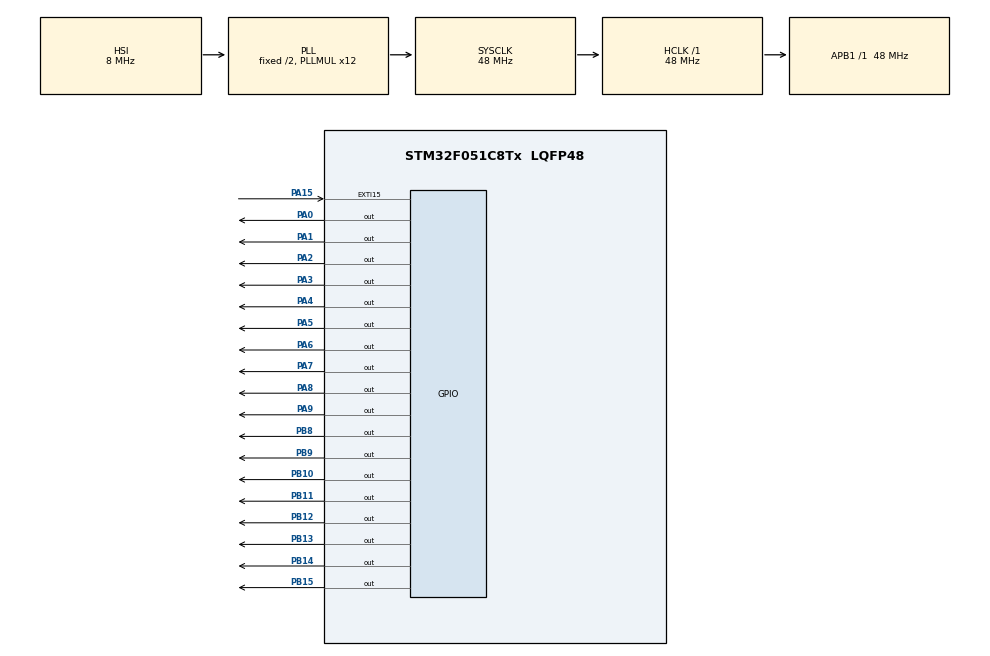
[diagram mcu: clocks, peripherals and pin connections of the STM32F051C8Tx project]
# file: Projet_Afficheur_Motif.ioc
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Mcu.Family=STM32F0
Mcu.Name=STM32F051C8Tx
Mcu.Package=LQFP48
NVIC.EXTI4_15_IRQn=true\:0\:0\:false\:false\:true\:true\:true
PA0.Signal=GPIO_Output
PA1.Signal=GPIO_Output
PA15.Signal=GPXTI15
PA2.Signal=GPIO_Output
PA3.Signal=GPIO_Output
PA4.Signal=GPIO_Output
PA5.Signal=GPIO_Output
PA6.Signal=GPIO_Output
PA7.Signal=GPIO_Output
PA8.Signal=GPIO_Output
PA9.Signal=GPIO_Output
PB10.Signal=GPIO_Output
PB11.Signal=GPIO_Output
PB12.Signal=GPIO_Output
PB13.Signal=GPIO_Output
PB14.Signal=GPIO_Output
PB15.Signal=GPIO_Output
PB8.Signal=GPIO_Output
PB9.Signal=GPIO_Output
ProjectManager.HeapSize=0x200
ProjectManager.StackSize=0x400
ProjectManager.TargetToolchain=STM32CubeIDE
RCC.AHBFreq_Value=48000000
RCC.APB1Freq_Value=48000000
RCC.APB1TimFreq_Value=48000000
RCC.HCLKFreq_Value=48000000
RCC.PLLMUL=RCC_PLL_MUL12
RCC.SYSCLKFreq_VALUE=48000000
RCC.SYSCLKSource=RCC_SYSCLKSOURCE_PLLCLK
board=custom

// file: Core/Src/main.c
/* USER CODE BEGIN Header */
/**
  ******************************************************************************
  * @file           : main.c
  * @brief          : Main program body
  ******************************************************************************
  * @attention
  *
  * <h2><center>&copy; Copyright (c) 2020 STMicroelectronics.
  * All rights reserved.</center></h2>
  *
  * This software component is licensed by ST under BSD 3-Clause license,
  * the "License"; You may not use this file except in compliance with the
  * License. You may obtain a copy of the License at:
  *                        opensource.org/licenses/BSD-3-Clause
  *
  ******************************************************************************
  */
/* USER CODE END Header */

#include "main.h"

void SystemClock_Config(void);
static void MX_GPIO_Init(void);

/* USER CODE BEGIN 0 */
volatile unsigned int flag = 0 ;
volatile unsigned int i = 0 ;
unsigned char lettreA[6] = {0x80, 0xF6, 0xF6, 0xF6, 0x80,0xFF};
unsigned char lettreB[6] = {0x80, 0xB6, 0xB6, 0xB6, 0xC1,0xFF};
static unsigned char Motif_Affiche_Polytech [48]={
0x80,0xF6,0xF6,0xF6,0xF9,0xFF,    //P
0x80,0xBE,0xBE,0xBE,0x80,0xFF,    //O
0x80,0xBF,0xBF,0xBF,0xBF,0xFF,    //L
0xFE,0xFD,0x83,0xFD,0xFE,0xFF,    //Y
0xFE,0xFE,0x80,0xFE,0xFE,0xFF,    //T
0x80,0xB6,0xB6,0xBE,0xBE,0xFF,    //E
0x80,0xBE,0xBE,0xBE,0xBE,0xFF,    //C
0x80,0xF7,0xF7,0xF7,0x80,0xFF    //H
};

/*static unsigned char Motif_Affiche_Busra [30]={
0x80, 0xB6, 0xB6, 0xB6, 0xC1, 0xFF, //B
0x80, 0x7F, 0x7F, 0x7F, 0x80, OxFF,	//U
0x71, 0x6E, 0x6E, 0x6E, 0x9E, 0xFF,	//S
0x01, 0xEE, 0xCE, 0xAE, 0x71, 0xFF,	//R
0x80, 0xF6, 0xF6, 0xF6, 0x80, 0xFF	//A
};*/

/* USER CODE END 0 */

int main(void)
{

  /* MCU Configuration--------------------------------------------------------*/

  /* Reset of all peripherals, Initializes the Flash interface and the Systick. */
  HAL_Init();

  /* Configure the system clock */
  SystemClock_Config();

  /* Initialize all configured peripherals */
  MX_GPIO_Init();

  /* Infinite loop */
  while (1)
  {

    /* USER CODE BEGIN 3 */
	  SetBus(GPIOB); // on met à 0 les pins
	  SetBus(GPIOA);// on met à 0 les pins

	  if (flag == 1 )// si on detecte 1 tour
	  {
	  for (i=0;i<48;i++)
	  {
	  GPIOA -> ODR &= Motif_Affiche_Polytech[i];
	  fonction_delai(979);
	  GPIOA -> ODR |= 0xFF;
	  }
	  flag = 0;
	  }
  }
  /* USER CODE END 3 */
}

void SystemClock_Config(void)
{
  RCC_OscInitTypeDef RCC_OscInitStruct = {0};
  RCC_ClkInitTypeDef RCC_ClkInitStruct = {0};

  /** Initializes the CPU, AHB and APB busses clocks
  */
  RCC_OscInitStruct.OscillatorType = RCC_OSCILLATORTYPE_HSI;
  RCC_OscInitStruct.HSIState = RCC_HSI_ON;
  RCC_OscInitStruct.HSICalibrationValue = RCC_HSICALIBRATION_DEFAULT;
  RCC_OscInitStruct.PLL.PLLState = RCC_PLL_ON;
  RCC_OscInitStruct.PLL.PLLSource = RCC_PLLSOURCE_HSI;
  RCC_OscInitStruct.PLL.PLLMUL = RCC_PLL_MUL12;
  RCC_OscInitStruct.PLL.PREDIV = RCC_PREDIV_DIV1;
  if (HAL_RCC_OscConfig(&RCC_OscInitStruct) != HAL_OK)
  {
    Error_Handler();
  }
  /** Initializes the CPU, AHB and APB busses clocks
  */
  RCC_ClkInitStruct.ClockType = RCC_CLOCKTYPE_HCLK|RCC_CLOCKTYPE_SYSCLK
                              |RCC_CLOCKTYPE_PCLK1;
  RCC_ClkInitStruct.SYSCLKSource = RCC_SYSCLKSOURCE_PLLCLK;
  RCC_ClkInitStruct.AHBCLKDivider = RCC_SYSCLK_DIV1;
  RCC_ClkInitStruct.APB1CLKDivider = RCC_HCLK_DIV1;

  if (HAL_RCC_ClockConfig(&RCC_ClkInitStruct, FLASH_LATENCY_1) != HAL_OK)
  {
    Error_Handler();
  }
}

static void MX_GPIO_Init(void)
{
  GPIO_InitTypeDef GPIO_InitStruct = {0};

  /* GPIO Ports Clock Enable */
  __HAL_RCC_GPIOA_CLK_ENABLE();
  __HAL_RCC_GPIOB_CLK_ENABLE();

  /*Configure GPIO pin Output Level */
  HAL_GPIO_WritePin(GPIOA, GPIO_PIN_0|GPIO_PIN_1|GPIO_PIN_2|GPIO_PIN_3
                          |GPIO_PIN_4|GPIO_PIN_5|GPIO_PIN_6|GPIO_PIN_7
                          |GPIO_PIN_8|GPIO_PIN_9, GPIO_PIN_RESET);

  /*Configure GPIO pin Output Level */
  HAL_GPIO_WritePin(GPIOB, GPIO_PIN_10|GPIO_PIN_11|GPIO_PIN_12|GPIO_PIN_13
                          |GPIO_PIN_14|GPIO_PIN_15|GPIO_PIN_8|GPIO_PIN_9, GPIO_PIN_RESET);

  /*Configure GPIO pins : PA0 PA1 PA2 PA3
                           PA4 PA5 PA6 PA7
                           PA8 PA9 */
  GPIO_InitStruct.Pin = GPIO_PIN_0|GPIO_PIN_1|GPIO_PIN_2|GPIO_PIN_3
                          |GPIO_PIN_4|GPIO_PIN_5|GPIO_PIN_6|GPIO_PIN_7
                          |GPIO_PIN_8|GPIO_PIN_9;
  GPIO_InitStruct.Mode = GPIO_MODE_OUTPUT_PP;
  GPIO_InitStruct.Pull = GPIO_NOPULL;
  GPIO_InitStruct.Speed = GPIO_SPEED_FREQ_LOW;
  HAL_GPIO_Init(GPIOA, &GPIO_InitStruct);

  /*Configure GPIO pins : PB10 PB11 PB12 PB13
                           PB14 PB15 PB8 PB9 */
  GPIO_InitStruct.Pin = GPIO_PIN_10|GPIO_PIN_11|GPIO_PIN_12|GPIO_PIN_13
                          |GPIO_PIN_14|GPIO_PIN_15|GPIO_PIN_8|GPIO_PIN_9;
  GPIO_InitStruct.Mode = GPIO_MODE_OUTPUT_PP;
  GPIO_InitStruct.Pull = GPIO_NOPULL;
  GPIO_InitStruct.Speed = GPIO_SPEED_FREQ_LOW;
  HAL_GPIO_Init(GPIOB, &GPIO_InitStruct);

  /*Configure GPIO pin : PA15 */
  GPIO_InitStruct.Pin = GPIO_PIN_15;
  GPIO_InitStruct.Mode = GPIO_MODE_IT_RISING;
  GPIO_InitStruct.Pull = GPIO_NOPULL;
  HAL_GPIO_Init(GPIOA, &GPIO_InitStruct);

  /* EXTI interrupt init*/
  HAL_NVIC_SetPriority(EXTI4_15_IRQn, 0, 0);
  HAL_NVIC_EnableIRQ(EXTI4_15_IRQn);

}

/* USER CODE BEGIN 4 */
void fonction_delai(unsigned int N)
{
unsigned int i = 0;
for (i=0;i<N;i++);
}
void ResetPin(GPIO_TypeDef *Port, unsigned int NumPin)
{
//fonction qui va agir uniquement sur une pin
Port -> ODR &= ~(1<<NumPin);
}
void SetPin(GPIO_TypeDef *Port, unsigned int NumPin)
{
//fonction qui va agir uniquement sur une pin
Port -> ODR |= (1<<NumPin);
}
void SetBus(GPIO_TypeDef *Port)
{
Port -> ODR |= 0xFFFF ;
// forcer à 1
}
void ResetBus(GPIO_TypeDef *Port)
{
Port -> ODR &= ~(0xFFFF);
//changer l'etat
}
void HAL_GPIO_EXTI_Callback(uint16_t GPIO_Pin)
{
if(GPIO_Pin == GPIO_PIN_15)
{
flag = 1 ;
}
/* interruption. La pin 15 est reliée à la fourche optique donc detecte les tours effectues.
Quand un tour sera effectuer le flag sera donc à 1 */

}

/* USER CODE END 4 */

void Error_Handler(void)
{
}

/************************ (C) COPYRIGHT STMicroelectronics *****END OF FILE****/
